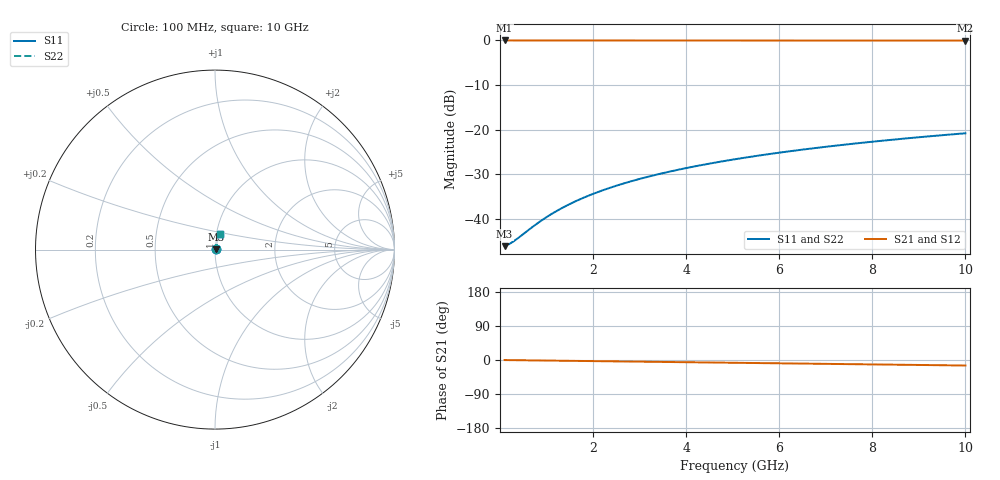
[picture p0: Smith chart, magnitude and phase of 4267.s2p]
# Hz S RI R 50.00
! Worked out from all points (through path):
!   100 points, 100 MHz to 10 GHz, reference 50 ohm
!   highest |S21| = -0.04 dB at 100 MHz (marker M1); lowest = -0.1 dB at 10 GHz (marker M2)
!   group delay of S21, straight-line fit = 4.04 ps
!   lowest |S11| = -46.1 dB at 100 MHz (marker M3), VSWR 1.01, Z = 50.5 + j0.0919 ohm
!   |S11| at or under -10 dB: start of sweep to end of sweep
!   |S22| runs from -46.1 to -20.8 dB; largest |S21 - S12| = 0
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1e8  0.00489 0.00091  0.9951 -0.00253  0.9951 -0.00253  0.00489 0.00091
2e8  0.00493 0.00182  0.9951 -0.00506  0.9951 -0.00506  0.00493 0.00182
3e8  0.00496 0.00273  0.995 -0.00759  0.995 -0.00759  0.00496 0.00273
8e8  0.00516 0.00727  0.9947 -0.0202  0.9947 -0.0202  0.00516 0.00727
9e8  0.00521 0.00818  0.9947 -0.0228  0.9947 -0.0228  0.00521 0.00818
1.1e9  0.00532 0.00999  0.9945 -0.0278  0.9945 -0.0278  0.00532 0.00999
1.4e9  0.00552 0.0127  0.9942 -0.0354  0.9942 -0.0354  0.00552 0.0127
1.6e9  0.00568 0.0145  0.994 -0.0404  0.994 -0.0404  0.00568 0.0145
1.8e9  0.00585 0.0163  0.9937 -0.0455  0.9937 -0.0455  0.00585 0.0163
2.1e9  0.00614 0.019  0.9933 -0.0531  0.9933 -0.0531  0.00614 0.019
2.5e9  0.00658 0.0227  0.9926 -0.0632  0.9926 -0.0632  0.00658 0.0227
2.9e9  0.0071 0.0262  0.9917 -0.0732  0.9917 -0.0732  0.0071 0.0262
3.4e9  0.00785 0.0307  0.9906 -0.0858  0.9906 -0.0858  0.00785 0.0307
3.8e9  0.00853 0.0343  0.9895 -0.0959  0.9895 -0.0959  0.00853 0.0343
4.2e9  0.00928 0.0378  0.9883 -0.1059  0.9883 -0.1059  0.00928 0.0378
4.6e9  0.0101 0.0414  0.987 -0.1159  0.987 -0.1159  0.0101 0.0414
5.1e9  0.0112 0.0458  0.9853 -0.1284  0.9853 -0.1284  0.0112 0.0458
5.9e9  0.0133 0.0527  0.982 -0.1483  0.982 -0.1483  0.0133 0.0527
6.7e9  0.0156 0.0596  0.9784 -0.1682  0.9784 -0.1682  0.0156 0.0596
7.5e9  0.0182 0.0664  0.9743 -0.1879  0.9743 -0.1879  0.0182 0.0664
8.4e9  0.0214 0.0738  0.9691 -0.2099  0.9691 -0.2099  0.0214 0.0738
1e10  0.028 0.0867  0.9586 -0.2487  0.9586 -0.2487  0.028 0.0867
